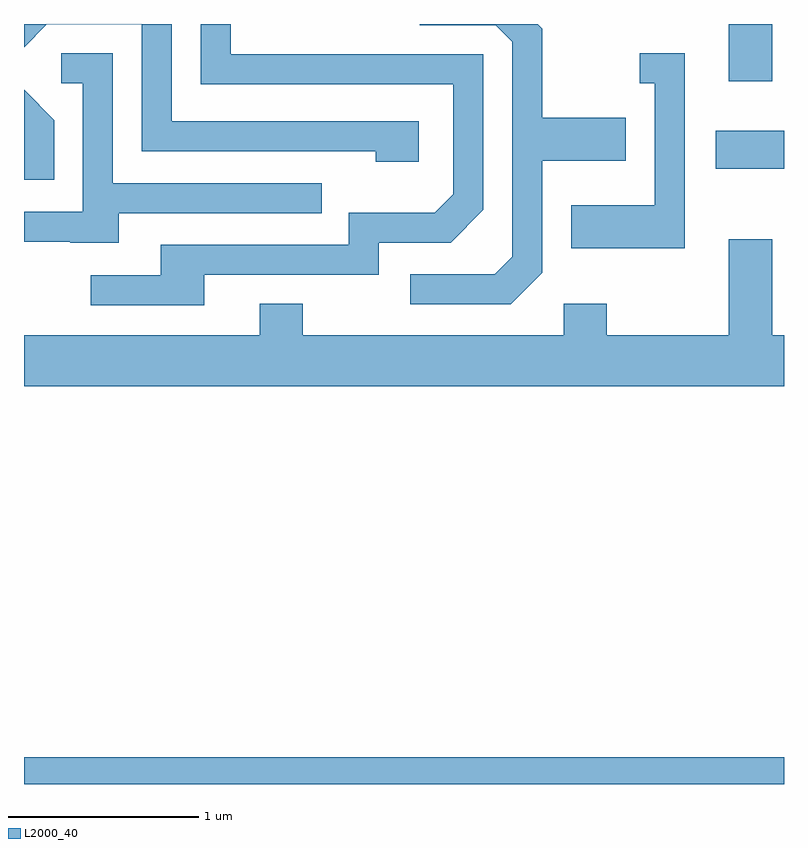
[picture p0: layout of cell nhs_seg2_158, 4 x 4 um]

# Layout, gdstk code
import gdstk
lib = gdstk.Library(unit=1e-6, precision=1e-09)
def R(c, l, rs):  # rectangles x0, y0, x1, y1
    for r in rs: c.add(gdstk.rectangle(r[:2], r[2:], *l))
def P(c, l, *ps):  # polygons
    for p in ps: c.add(gdstk.Polygon(p, *l))
L2000_40 = (2000, 40)

nhs_seg2_158 = lib.new_cell('nhs_seg2_158')
R(nhs_seg2_158, L2000_40, [(189.611,1021.802,193.611,1021.944), (193.251,1025.041,193.611,1025.239), (193.321,1025.501,193.549,1025.802)])
P(nhs_seg2_158, L2000_40, [(192.339,1024.494),(192.339,1025.081),(192.779,1025.081),(192.779,1025.309),(192.339,1025.309),(192.339,1025.777),(192.314,1025.802),(191.693,1025.802),(191.693,1025.796),(192.094,1025.796),(192.181,1025.709),(192.181,1024.577),(192.089,1024.484),(191.643,1024.484),(191.643,1024.326),(192.172,1024.326)],
  [(190.559,1024.481),(191.479,1024.481),(191.479,1024.651),(191.857,1024.651),(192.029,1024.824),(192.029,1025.644),(190.699,1025.644),(190.699,1025.802),(190.541,1025.802),(190.541,1025.486),(191.871,1025.486),(191.871,1024.907),(191.774,1024.809),(191.321,1024.809),(191.321,1024.639),(190.331,1024.639),(190.331,1024.479),(189.963,1024.479),(189.963,1024.321),(190.559,1024.321)],
  [(191.689,1025.289),(190.389,1025.289),(190.389,1025.802),(189.611,1025.802),(189.611,1025.68),(189.732,1025.801),(190.231,1025.801),(190.231,1025.131),(191.461,1025.131),(191.461,1025.076),(191.689,1025.076)],
  [(190.109,1024.806),(191.178,1024.806),(191.178,1024.964),(190.079,1024.964),(190.079,1025.649),(189.808,1025.649),(189.808,1025.491),(189.921,1025.491),(189.921,1024.814),(189.611,1024.814),(189.611,1024.656),(189.855,1024.656),(189.855,1024.651),(190.109,1024.651)],
  [(193.089,1025.649),(192.853,1025.649),(192.853,1025.491),(192.931,1025.491),(192.931,1024.849),(192.491,1024.849),(192.491,1024.621),(193.089,1024.621)],
  [(189.769,1025.296),(189.611,1025.455),(189.611,1024.983),(189.769,1024.983)],
  [(193.611,1024.164),(193.549,1024.164),(193.549,1024.669),(193.321,1024.669),(193.321,1024.164),(192.679,1024.164),(192.679,1024.329),(192.451,1024.329),(192.451,1024.164),(191.079,1024.164),(191.079,1024.329),(190.851,1024.329),(190.851,1024.164),(189.611,1024.164),(189.611,1023.896),(193.611,1023.896)])

lib.write_gds('nhs_seg2_158.gds')
